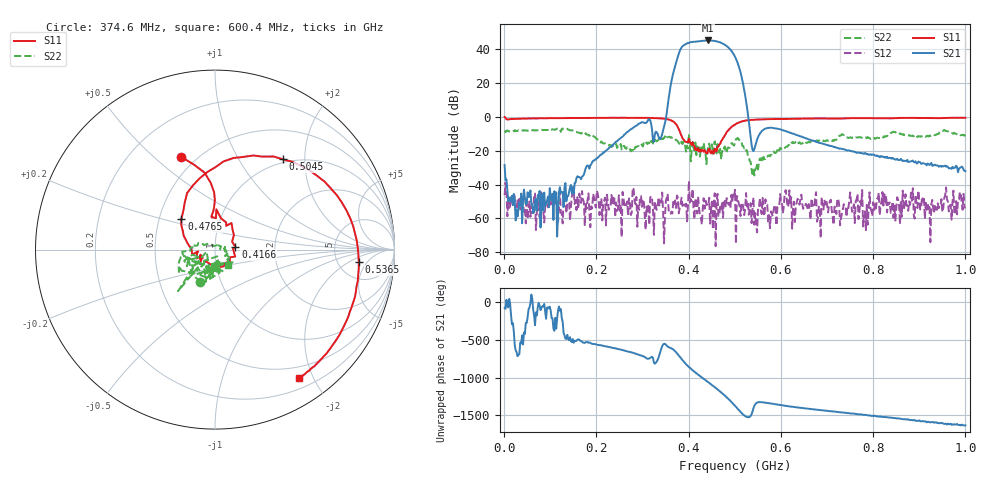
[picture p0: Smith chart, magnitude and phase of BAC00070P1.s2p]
!measured: 2026-10-27T14:53:54
!cal_instance: BBtestOct27
!cal_created: 2026-10-27T14:45
!cal_file: BBtesting.cal
!port1_delay_ps: -58.63
!port2_delay_ps: -59.31
!host: dhcp-10-250-247-203.harvard.edu
! Created with skrf 2.1.0 (http://scikit-rf.org).
# Hz S RI R 50.0
!freq ReS11 ImS11 ReS21 ImS21 ReS12 ImS12 ReS22 ImS22
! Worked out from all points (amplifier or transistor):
!   501 points, 1 MHz to 1 GHz, reference 50 ohm
!   highest |S21| = 45.0 dB at 442.6 MHz (marker M1)
!   |S21| within 3 dB of that: 388.8 MHz to 481 MHz (92.25 MHz wide, 21.2 % of centre)
!   unconditionally stable (mu >= 1): start of sweep to 399.8 MHz; 409 MHz to 456.1 MHz; 500.6 MHz to end of sweep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
!   at 166.8 MHz: K = 1805.48, MAG = -28.6 dB, |S12| = -50.9 dB
!   at 500.5 MHz: K = 0.91, MSG = 39.2 dB, |S12| = -43.1 dB
!   at 1 GHz: K = 1272.20, MAG = -23.4 dB, |S12| = -53.5 dB
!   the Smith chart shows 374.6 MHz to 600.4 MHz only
!   S11 on the Smith chart (normalised r, x): 374.6 MHz: 0.41, +0.61; 416.6 MHz: 1.26, +0.04; 476.5 MHz: 0.65, +0.24; 504.5 MHz: 0.94, +1.57; 536.5 MHz: 7.93, -3.18; 600.4 MHz: 0.34, -1.80
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1000000  -0.3469 0.9172  0.0057 -0.0368  -0.00156 0.00463  0.3798 -0.00204
1.68832e8  0.4985 -0.7674  -0.0167 -0.00348  0.000303 0.00636  -0.038 -0.3259
3.34666e8  -0.8414 -0.3235  0.2469 -0.0829  -0.00325 0.00266  0.0281 -0.2055
3.74626e8  -0.1915 0.5186  36.47 30.75  -0.00463 -0.00107  -0.0809 -0.1821
3.84616e8  -0.000575 0.2746  90.49 -62.64  -0.00199 -0.00357  -0.1311 -0.1281
3.94606e8  -0.0169 0.1787  -35.91 -135.5  -0.00083 0.00259  -0.0845 -0.0394
4.06594e8  0.0624 0.1323  -157.7 -19.17  -0.00302 0.00124  -0.0326 -0.098
4.16584e8  0.1137 0.0142  -119.6 111.3  -0.0012 -0.00347  0.0249 -0.0691
4.28572e8  0.0488 -0.0924  23.21 169.9  0.000656 -1.38e-05  0.000251 -0.106
4.42558e8  -0.0667 -0.0826  167.4 57.19  0.00226 0.000841  -0.0353 -0.1398
4.5055e8  -0.0835 -0.0528  166.7 -54.57  0.00147 0.00277  -0.0124 -0.1521
4.6054e8  -0.0943 -0.00988  68.74 -151.2  -0.00194 -0.00235  0.0179 -0.0806
4.68532e8  -0.1559 0.0409  -41.17 -149.2  -0.00177 -0.0017  0.00111 -0.1125
4.76524e8  -0.1874 0.1708  -115.4 -73.76  -0.00136 -0.00314  -0.0238 -0.1159
4.9051e8  0.00279 0.4592  -63.63 70.81  0.00196 -0.000412  -0.0434 -0.1273
5.005e8  0.2625 0.5181  22.33 54.15  -0.00123 -0.00686  -0.1055 -0.1333
5.04496e8  0.3784 0.5028  33.64 28.84  0.00314 -0.00335  -0.1978 -0.0995
5.36464e8  0.8012 -0.0707  0.1069 -0.1009  2.89e-05 -0.000723  -0.0128 0.0245
6.004e8  0.4693 -0.7153  0.1058 0.4038  0.00202 -0.00213  0.0721 -0.0835
6.68332e8  0.0621 -0.8822  0.1811 0.074  0.00116 -0.00207  0.0339 -0.1742
8.34166e8  -0.5915 -0.6724  0.00368 -0.0599  0.00262 -0.000253  -0.1697 -0.2349
1e9  -0.8875 -0.2572  -0.0243 0.00481  -0.00212 0.000152  -0.2317 -0.1757
